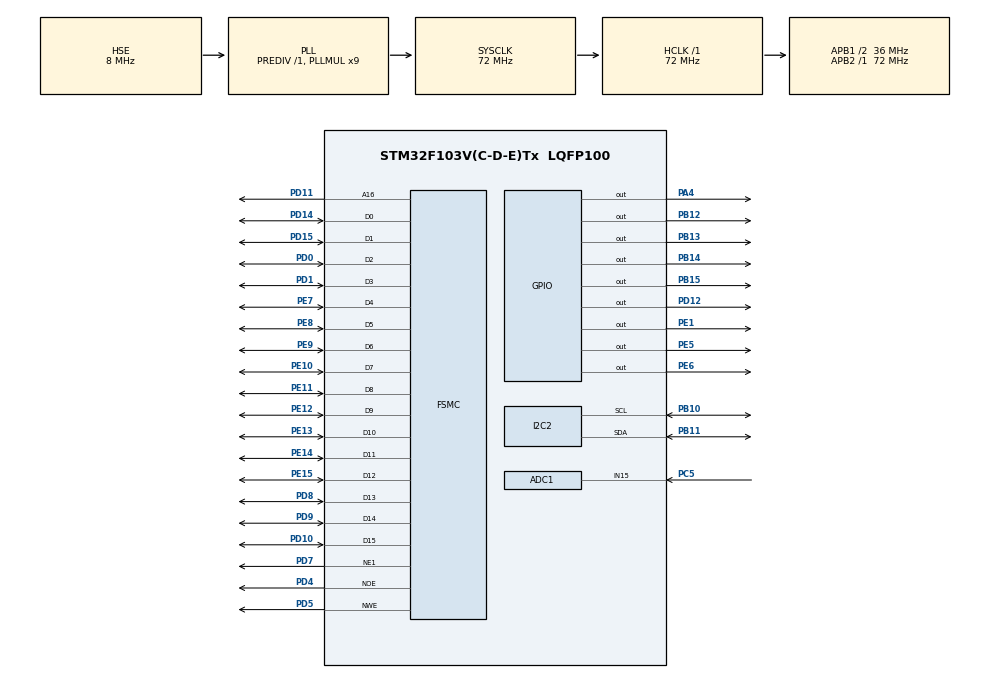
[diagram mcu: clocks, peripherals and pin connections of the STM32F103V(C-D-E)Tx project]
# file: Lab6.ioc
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ADC1.Channel-0\#ChannelRegularConversion=ADC_CHANNEL_15
ADC1.NbrOfConversionFlag=1
ADC1.Rank-0\#ChannelRegularConversion=1
ADC1.SamplingTime-0\#ChannelRegularConversion=ADC_SAMPLETIME_55CYCLES_5
ADC1.master=1
ADC2.Channel-0\#ChannelRegularConversion=ADC_CHANNEL_15
ADC2.ContinuousConvMode=ENABLE
ADC2.NbrOfConversionFlag=1
ADC2.Rank-0\#ChannelRegularConversion=1
ADC2.SamplingTime-0\#ChannelRegularConversion=ADC_SAMPLETIME_55CYCLES_5
Mcu.Family=STM32F1
Mcu.Name=STM32F103V(C-D-E)Tx
Mcu.Package=LQFP100
NVIC.PriorityGroup=NVIC_PRIORITYGROUP_4
OSC_IN.Mode=HSE-External-Oscillator
OSC_IN.Signal=RCC_OSC_IN
OSC_OUT.Mode=HSE-External-Oscillator
OSC_OUT.Signal=RCC_OSC_OUT
PA13.Mode=Serial_Wire
PA13.Signal=SYS_JTMS-SWDIO
PA14.Mode=Serial_Wire
PA14.Signal=SYS_JTCK-SWCLK
PA4.GPIO_Speed=GPIO_SPEED_FREQ_HIGH
PA4.Signal=GPIO_Output
PB10.Mode=I2C
PB10.Signal=I2C2_SCL
PB11.Mode=I2C
PB11.Signal=I2C2_SDA
PB12.GPIO_PuPd=GPIO_NOPULL
PB12.GPIO_Speed=GPIO_SPEED_FREQ_HIGH
PB12.Signal=GPIO_Output
PB13.GPIO_PuPd=GPIO_NOPULL
PB13.GPIO_Speed=GPIO_SPEED_FREQ_HIGH
PB13.PinState=GPIO_PIN_RESET
PB13.Signal=GPIO_Output
PB14.GPIO_Speed=GPIO_SPEED_FREQ_HIGH
PB14.Signal=GPIO_Output
PB15.GPIO_Speed=GPIO_SPEED_FREQ_HIGH
PB15.Signal=GPIO_Output
PC14-OSC32_IN.Mode=LSE-External-Oscillator
PC14-OSC32_IN.Signal=RCC_OSC32_IN
PC15-OSC32_OUT.Mode=LSE-External-Oscillator
PC15-OSC32_OUT.Signal=RCC_OSC32_OUT
PC5.Signal=ADCx_IN15
PD0.Mode=16b-d1
PD0.Signal=FSMC_D2
PD1.Mode=16b-d1
PD1.Signal=FSMC_D3
PD10.Mode=16b-d1
PD10.Signal=FSMC_D15
PD11.Mode=A16_1
PD11.Signal=FSMC_A16
PD12.GPIO_Speed=GPIO_SPEED_FREQ_HIGH
PD12.Signal=GPIO_Output
PD14.Mode=16b-d1
PD14.Signal=FSMC_D0
PD15.Mode=16b-d1
PD15.Signal=FSMC_D1
PD4.Mode=Lcd1
PD4.Signal=FSMC_NOE
PD5.Mode=Lcd1
PD5.Signal=FSMC_NWE
PD7.Mode=NorPsramChipSelect1_1
PD7.Signal=FSMC_NE1
PD8.Mode=16b-d1
PD8.Signal=FSMC_D13
PD9.Mode=16b-d1
PD9.Signal=FSMC_D14
PE1.GPIO_Speed=GPIO_SPEED_FREQ_HIGH
PE1.Signal=GPIO_Output
PE10.Mode=16b-d1
PE10.Signal=FSMC_D7
PE11.Mode=16b-d1
PE11.Signal=FSMC_D8
PE12.Mode=16b-d1
PE12.Signal=FSMC_D9
PE13.Mode=16b-d1
PE13.Signal=FSMC_D10
PE14.Mode=16b-d1
PE14.Signal=FSMC_D11
PE15.Mode=16b-d1
PE15.Signal=FSMC_D12
PE5.GPIO_Speed=GPIO_SPEED_FREQ_HIGH
PE5.Signal=GPIO_Output
PE6.GPIO_Speed=GPIO_SPEED_FREQ_HIGH
PE6.Signal=GPIO_Output
PE7.Mode=16b-d1
PE7.Signal=FSMC_D4
PE8.Mode=16b-d1
PE8.Signal=FSMC_D5
PE9.Mode=16b-d1
PE9.Signal=FSMC_D6
ProjectManager.HeapSize=0x200
ProjectManager.StackSize=0x400
ProjectManager.TargetToolchain=STM32CubeIDE
RCC.ADCPresc=RCC_ADCPCLK2_DIV6
RCC.AHBFreq_Value=72000000
RCC.APB1CLKDivider=RCC_HCLK_DIV2
RCC.APB1Freq_Value=36000000
RCC.APB1TimFreq_Value=72000000
RCC.APB2Freq_Value=72000000
RCC.APB2TimFreq_Value=72000000
RCC.HCLKFreq_Value=72000000
RCC.PLLMUL=RCC_PLL_MUL9
RCC.PLLSourceVirtual=RCC_PLLSOURCE_HSE
RCC.SYSCLKFreq_VALUE=72000000
RCC.SYSCLKSource=RCC_SYSCLKSOURCE_PLLCLK
RCC.USBFreq_Value=72000000
SH.ADCx_IN15.0=ADC1_IN15,IN15
SH.ADCx_IN15.1=ADC2_IN15,IN15
board=custom

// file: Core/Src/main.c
/* USER CODE BEGIN Header */
/**
  ******************************************************************************
  * @file           : main.c
  * @brief          : Main program body
  ******************************************************************************
  * @attention
  *
  * Copyright (c) 2023 STMicroelectronics.
  * All rights reserved.
  *
  * This software is licensed under terms that can be found in the LICENSE file
  * in the root directory of this software component.
  * If no LICENSE file comes with this software, it is provided AS-IS.
  *
  ******************************************************************************
  */
/* USER CODE END Header */
#include "main.h"

/* USER CODE BEGIN Includes */
#include "lcd.h"
#include "math.h"
#include <stdio.h>
#include "string.h"
/* USER CODE END Includes */

ADC_HandleTypeDef hadc1;
ADC_HandleTypeDef hadc2;

I2C_HandleTypeDef hi2c2;

SRAM_HandleTypeDef hsram1;

void SystemClock_Config(void);
static void MX_GPIO_Init(void);
static void MX_ADC1_Init(void);
static void MX_FSMC_Init(void);
static void MX_ADC2_Init(void);
static void MX_I2C2_Init(void);

int main(void)
{

  /* MCU Configuration--------------------------------------------------------*/

  /* Reset of all peripherals, Initializes the Flash interface and the Systick. */
  HAL_Init();

  /* Configure the system clock */
  SystemClock_Config();

  /* Initialize all configured peripherals */
  MX_GPIO_Init();
  MX_ADC1_Init();
  MX_FSMC_Init();
  MX_ADC2_Init();
  MX_I2C2_Init();
  /* USER CODE BEGIN 2 */
  // initialize lcd
  LCD_INIT();
  // initialize hmc device
  uint8_t cra = 0x70;
  uint8_t crb = 0x20;
  uint8_t device_address = 0x1E<<1; // target must be shifted to left for hal i2c parameter, will be 0x3c
  // 1. Write CRA (00) – send 0x3C 0x00 0x70 (8-average, 15 Hz default or any other rate, normal measurement
  HAL_I2C_Mem_Write(&hi2c2,device_address,0x00,1,&cra,1,100);
  // 2. Write CRB (01) – send 0x3C 0x01 0xA0 (Gain=5, or any other desired gain)
  HAL_I2C_Mem_Write(&hi2c2,device_address,0x01,1,&crb,1,100);
  LCD_DrawString(5, 30, "Angle: ");
//  resetPins();
  /* USER CODE END 2 */

  /* Infinite loop */
  /* USER CODE BEGIN WHILE */
  while (1)
  {
	  // single measurement mode is  0x01
	  uint8_t mode = 0x01;
	  HAL_I2C_Mem_Write(&hi2c2,device_address,0x02,1,&mode,1,100);
	  // wait at least 6 ms
	  HAL_Delay(30);
	  // initialize variables
	  double initial_angle=0;
	  int final_angle;
	  // make sure to use signed as it returns 2s complement
	  int16_t x=0;
	  int16_t y=0;
//	  int16_t z=0;
//	  uint8_t x_lsb=0;
//	  uint8_t x_msb=0;
//	  uint8_t y_lsb=0;
//	  uint8_t y_msb=0;
	  uint8_t data[6]={0}; //buffer for data, [0] is x msb, [1] is x lsb, [4] is y msb, [5] is y lsb

	  // read starting from memory register 0x03, read next 6 bytes and store into data buffer
	  // 0x03 - X MSB, 0x04 X LSB, 0x05 Z MSB, 0x06 Z LSB, 0x07 Y MSB, 0x08 Y LSB.
	  HAL_I2C_Mem_Read(&hi2c2, device_address,0x03,1,data,6,100);
//	  HAL_I2C_Mem_Read(&hi2c2, device_address,0x03,1,&x_msb,1,100);
//	  HAL_I2C_Mem_Read(&hi2c2, device_address,0x04,1,&x_lsb,1,100);
//	  HAL_I2C_Mem_Read(&hi2c2, device_address,0x07,1,&y_msb,1,100);
//	  HAL_I2C_Mem_Read(&hi2c2, device_address,0x08,1,&y_lsb,1,100);

	  // get x and y msb and lsb and combine them to create 16 bit integer, so shift msb by 8 bits to left
	  x = (data[0]<<8 | data[1]);
	  y = (data[4]<<8|data[5]);
	  y+=500; // was getting weird large negative value, might change in a different environment
//	  z = (data[2]<<8|data[3]);

	  // convert from x and y values to angle
	  initial_angle = atan2(y,x);
	  initial_angle = (initial_angle*180)/3.14159;
	  if(initial_angle>0)
	  {
		  final_angle = (int)initial_angle;
	  }
	  else
	  {
		  final_angle = (int)(initial_angle+360); // if negative add 360
	  }

	  // print to lcd
	  char str[4];
	  	if(final_angle<10)
	  	{
	  		sprintf(str, "00%d", final_angle);
	  	}
	  	else if(final_angle>=10 && final_angle<100)
	  	{
	  		sprintf(str, "0%d", final_angle);
	  	}
	  	else if(final_angle>=100 && final_angle<1000)
	  	{
	  		sprintf(str, "%d", final_angle);
	  	}
	  	LCD_DrawString(50,30,str);
	  	HAL_Delay(20);

	  	// display last digit of angle to 7 segment led
	  	uint8_t last_digit = final_angle%10;
	  	if(last_digit == 0)
	  	{
	  		//turn off pin set g, which is PB14
			HAL_GPIO_WritePin(GPIOB,GPIO_PIN_12,GPIO_PIN_RESET);
			HAL_GPIO_WritePin(GPIOB,GPIO_PIN_13,GPIO_PIN_RESET);
			HAL_GPIO_WritePin(GPIOB,GPIO_PIN_14,GPIO_PIN_SET);
			HAL_GPIO_WritePin(GPIOB,GPIO_PIN_15,GPIO_PIN_RESET);
			HAL_GPIO_WritePin(GPIOA,GPIO_PIN_4,GPIO_PIN_RESET);
			HAL_GPIO_WritePin(GPIOE,GPIO_PIN_5,GPIO_PIN_RESET);
			HAL_GPIO_WritePin(GPIOE,GPIO_PIN_6,GPIO_PIN_RESET);
	  	}
	  	else if(last_digit==1)
	  	{
	  		// turn off a,f,g,e,d corresponding to b13,b12,b14,a4,e5
			HAL_GPIO_WritePin(GPIOB,GPIO_PIN_12,GPIO_PIN_SET);
			HAL_GPIO_WritePin(GPIOB,GPIO_PIN_13,GPIO_PIN_SET);
			HAL_GPIO_WritePin(GPIOB,GPIO_PIN_14,GPIO_PIN_SET);
			HAL_GPIO_WritePin(GPIOB,GPIO_PIN_15,GPIO_PIN_RESET);
			HAL_GPIO_WritePin(GPIOA,GPIO_PIN_4,GPIO_PIN_SET);
			HAL_GPIO_WritePin(GPIOE,GPIO_PIN_5,GPIO_PIN_SET);
			HAL_GPIO_WritePin(GPIOE,GPIO_PIN_6,GPIO_PIN_RESET);
	  	}
	  	else if(last_digit==2)
	  	{
	  		// turn off f,c, corresponding to b12 and e6
			HAL_GPIO_WritePin(GPIOB,GPIO_PIN_12,GPIO_PIN_SET);
			HAL_GPIO_WritePin(GPIOB,GPIO_PIN_13,GPIO_PIN_RESET);
			HAL_GPIO_WritePin(GPIOB,GPIO_PIN_14,GPIO_PIN_RESET);
			HAL_GPIO_WritePin(GPIOB,GPIO_PIN_15,GPIO_PIN_RESET);
			HAL_GPIO_WritePin(GPIOA,GPIO_PIN_4,GPIO_PIN_RESET);
			HAL_GPIO_WritePin(GPIOE,GPIO_PIN_5,GPIO_PIN_RESET);
			HAL_GPIO_WritePin(GPIOE,GPIO_PIN_6,GPIO_PIN_SET);
	  	}
	  	else if(last_digit==3)
	  	{
	  		// turn off e,f, corresponding to a4, b12
			HAL_GPIO_WritePin(GPIOB,GPIO_PIN_12,GPIO_PIN_SET);
			HAL_GPIO_WritePin(GPIOB,GPIO_PIN_13,GPIO_PIN_RESET);
			HAL_GPIO_WritePin(GPIOB,GPIO_PIN_14,GPIO_PIN_RESET);
			HAL_GPIO_WritePin(GPIOB,GPIO_PIN_15,GPIO_PIN_RESET);
			HAL_GPIO_WritePin(GPIOA,GPIO_PIN_4,GPIO_PIN_SET);
			HAL_GPIO_WritePin(GPIOE,GPIO_PIN_5,GPIO_PIN_RESET);
			HAL_GPIO_WritePin(GPIOE,GPIO_PIN_6,GPIO_PIN_RESET);
	  	}
	  	else if(last_digit==4)
	  	{
	  		// turn off a,d,e, corresponding to b13, e5, a4
			HAL_GPIO_WritePin(GPIOB,GPIO_PIN_12,GPIO_PIN_RESET);
			HAL_GPIO_WritePin(GPIOB,GPIO_PIN_13,GPIO_PIN_SET);
			HAL_GPIO_WritePin(GPIOB,GPIO_PIN_14,GPIO_PIN_RESET);
			HAL_GPIO_WritePin(GPIOB,GPIO_PIN_15,GPIO_PIN_RESET);
			HAL_GPIO_WritePin(GPIOA,GPIO_PIN_4,GPIO_PIN_SET);
			HAL_GPIO_WritePin(GPIOE,GPIO_PIN_5,GPIO_PIN_SET);
			HAL_GPIO_WritePin(GPIOE,GPIO_PIN_6,GPIO_PIN_RESET);
	  	}
	  	else if(last_digit==5)
	  	{
	  		// turn off b,e, corresponding to a4, b15
			HAL_GPIO_WritePin(GPIOB,GPIO_PIN_12,GPIO_PIN_RESET);
			HAL_GPIO_WritePin(GPIOB,GPIO_PIN_13,GPIO_PIN_RESET);
			HAL_GPIO_WritePin(GPIOB,GPIO_PIN_14,GPIO_PIN_RESET);
			HAL_GPIO_WritePin(GPIOB,GPIO_PIN_15,GPIO_PIN_SET);
			HAL_GPIO_WritePin(GPIOA,GPIO_PIN_4,GPIO_PIN_SET);
			HAL_GPIO_WritePin(GPIOE,GPIO_PIN_5,GPIO_PIN_RESET);
			HAL_GPIO_WritePin(GPIOE,GPIO_PIN_6,GPIO_PIN_RESET);
	  	}
	  	else if(last_digit==6)
	  	{
	  		// turn off b, corresponding to b15
			HAL_GPIO_WritePin(GPIOB,GPIO_PIN_12,GPIO_PIN_RESET);
			HAL_GPIO_WritePin(GPIOB,GPIO_PIN_13,GPIO_PIN_RESET);
			HAL_GPIO_WritePin(GPIOB,GPIO_PIN_14,GPIO_PIN_RESET);
			HAL_GPIO_WritePin(GPIOB,GPIO_PIN_15,GPIO_PIN_SET);
			HAL_GPIO_WritePin(GPIOA,GPIO_PIN_4,GPIO_PIN_RESET);
			HAL_GPIO_WritePin(GPIOE,GPIO_PIN_5,GPIO_PIN_RESET);
			HAL_GPIO_WritePin(GPIOE,GPIO_PIN_6,GPIO_PIN_RESET);
	  	}
	  	else if(last_digit==7)
	  	{
	  		// turn off d,e,f,g, corresponding to e5,a4,b12,b14
			HAL_GPIO_WritePin(GPIOB,GPIO_PIN_12,GPIO_PIN_SET);
			HAL_GPIO_WritePin(GPIOB,GPIO_PIN_13,GPIO_PIN_RESET);
			HAL_GPIO_WritePin(GPIOB,GPIO_PIN_14,GPIO_PIN_SET);
			HAL_GPIO_WritePin(GPIOB,GPIO_PIN_15,GPIO_PIN_RESET);
			HAL_GPIO_WritePin(GPIOA,GPIO_PIN_4,GPIO_PIN_SET);
			HAL_GPIO_WritePin(GPIOE,GPIO_PIN_5,GPIO_PIN_SET);
			HAL_GPIO_WritePin(GPIOE,GPIO_PIN_6,GPIO_PIN_RESET);
	  	}
	  	else if(last_digit==8)
	  	{
	  		// turn off e,f, corresponding to a4, b12
			HAL_GPIO_WritePin(GPIOB,GPIO_PIN_12,GPIO_PIN_RESET);
			HAL_GPIO_WritePin(GPIOB,GPIO_PIN_13,GPIO_PIN_RESET);
			HAL_GPIO_WritePin(GPIOB,GPIO_PIN_14,GPIO_PIN_RESET);
			HAL_GPIO_WritePin(GPIOB,GPIO_PIN_15,GPIO_PIN_RESET);
			HAL_GPIO_WritePin(GPIOA,GPIO_PIN_4,GPIO_PIN_RESET);
			HAL_GPIO_WritePin(GPIOE,GPIO_PIN_5,GPIO_PIN_RESET);
			HAL_GPIO_WritePin(GPIOE,GPIO_PIN_6,GPIO_PIN_RESET);
	  	}
	  	else if(last_digit==9)
	  	{
	  		// turn off e, corresponding to a4
			HAL_GPIO_WritePin(GPIOB,GPIO_PIN_12,GPIO_PIN_RESET);
			HAL_GPIO_WritePin(GPIOB,GPIO_PIN_13,GPIO_PIN_RESET);
			HAL_GPIO_WritePin(GPIOB,GPIO_PIN_14,GPIO_PIN_RESET);
			HAL_GPIO_WritePin(GPIOB,GPIO_PIN_15,GPIO_PIN_RESET);
			HAL_GPIO_WritePin(GPIOA,GPIO_PIN_4,GPIO_PIN_SET);
			HAL_GPIO_WritePin(GPIOE,GPIO_PIN_5,GPIO_PIN_RESET);
			HAL_GPIO_WritePin(GPIOE,GPIO_PIN_6,GPIO_PIN_RESET);
	  	}

    /* USER CODE END WHILE */

  }
}

void SystemClock_Config(void)
{
  RCC_OscInitTypeDef RCC_OscInitStruct = {0};
  RCC_ClkInitTypeDef RCC_ClkInitStruct = {0};
  RCC_PeriphCLKInitTypeDef PeriphClkInit = {0};

  /** Initializes the RCC Oscillators according to the specified parameters
  * in the RCC_OscInitTypeDef structure.
  */
  RCC_OscInitStruct.OscillatorType = RCC_OSCILLATORTYPE_HSE;
  RCC_OscInitStruct.HSEState = RCC_HSE_ON;
  RCC_OscInitStruct.HSEPredivValue = RCC_HSE_PREDIV_DIV1;
  RCC_OscInitStruct.HSIState = RCC_HSI_ON;
  RCC_OscInitStruct.PLL.PLLState = RCC_PLL_ON;
  RCC_OscInitStruct.PLL.PLLSource = RCC_PLLSOURCE_HSE;
  RCC_OscInitStruct.PLL.PLLMUL = RCC_PLL_MUL9;
  if (HAL_RCC_OscConfig(&RCC_OscInitStruct) != HAL_OK)
  {
    Error_Handler();
  }

  /** Initializes the CPU, AHB and APB buses clocks
  */
  RCC_ClkInitStruct.ClockType = RCC_CLOCKTYPE_HCLK|RCC_CLOCKTYPE_SYSCLK
                              |RCC_CLOCKTYPE_PCLK1|RCC_CLOCKTYPE_PCLK2;
  RCC_ClkInitStruct.SYSCLKSource = RCC_SYSCLKSOURCE_PLLCLK;
  RCC_ClkInitStruct.AHBCLKDivider = RCC_SYSCLK_DIV1;
  RCC_ClkInitStruct.APB1CLKDivider = RCC_HCLK_DIV2;
  RCC_ClkInitStruct.APB2CLKDivider = RCC_HCLK_DIV1;

  if (HAL_RCC_ClockConfig(&RCC_ClkInitStruct, FLASH_LATENCY_2) != HAL_OK)
  {
    Error_Handler();
  }
  PeriphClkInit.PeriphClockSelection = RCC_PERIPHCLK_ADC;
  PeriphClkInit.AdcClockSelection = RCC_ADCPCLK2_DIV6;
  if (HAL_RCCEx_PeriphCLKConfig(&PeriphClkInit) != HAL_OK)
  {
    Error_Handler();
  }
}

static void MX_ADC1_Init(void)
{

  ADC_ChannelConfTypeDef sConfig = {0};

  /** Common config
  */
  hadc1.Instance = ADC1;
  hadc1.Init.ScanConvMode = ADC_SCAN_DISABLE;
  hadc1.Init.ContinuousConvMode = DISABLE;
  hadc1.Init.DiscontinuousConvMode = DISABLE;
  hadc1.Init.ExternalTrigConv = ADC_SOFTWARE_START;
  hadc1.Init.DataAlign = ADC_DATAALIGN_RIGHT;
  hadc1.Init.NbrOfConversion = 1;
  if (HAL_ADC_Init(&hadc1) != HAL_OK)
  {
    Error_Handler();
  }

  /** Configure Regular Channel
  */
  sConfig.Channel = ADC_CHANNEL_15;
  sConfig.Rank = ADC_REGULAR_RANK_1;
  sConfig.SamplingTime = ADC_SAMPLETIME_55CYCLES_5;
  if (HAL_ADC_ConfigChannel(&hadc1, &sConfig) != HAL_OK)
  {
    Error_Handler();
  }

}

static void MX_ADC2_Init(void)
{

  ADC_ChannelConfTypeDef sConfig = {0};

  /** Common config
  */
  hadc2.Instance = ADC2;
  hadc2.Init.ScanConvMode = ADC_SCAN_DISABLE;
  hadc2.Init.ContinuousConvMode = ENABLE;
  hadc2.Init.DiscontinuousConvMode = DISABLE;
  hadc2.Init.ExternalTrigConv = ADC_SOFTWARE_START;
  hadc2.Init.DataAlign = ADC_DATAALIGN_RIGHT;
  hadc2.Init.NbrOfConversion = 1;
  if (HAL_ADC_Init(&hadc2) != HAL_OK)
  {
    Error_Handler();
  }

  /** Configure Regular Channel
  */
  sConfig.Channel = ADC_CHANNEL_15;
  sConfig.Rank = ADC_REGULAR_RANK_1;
  sConfig.SamplingTime = ADC_SAMPLETIME_55CYCLES_5;
  if (HAL_ADC_ConfigChannel(&hadc2, &sConfig) != HAL_OK)
  {
    Error_Handler();
  }

}

static void MX_I2C2_Init(void)
{

  hi2c2.Instance = I2C2;
  hi2c2.Init.ClockSpeed = 100000;
  hi2c2.Init.DutyCycle = I2C_DUTYCYCLE_2;
  hi2c2.Init.OwnAddress1 = 0;
  hi2c2.Init.AddressingMode = I2C_ADDRESSINGMODE_7BIT;
  hi2c2.Init.DualAddressMode = I2C_DUALADDRESS_DISABLE;
  hi2c2.Init.OwnAddress2 = 0;
  hi2c2.Init.GeneralCallMode = I2C_GENERALCALL_DISABLE;
  hi2c2.Init.NoStretchMode = I2C_NOSTRETCH_DISABLE;
  if (HAL_I2C_Init(&hi2c2) != HAL_OK)
  {
    Error_Handler();
  }

}

static void MX_GPIO_Init(void)
{
  GPIO_InitTypeDef GPIO_InitStruct = {0};

  /* GPIO Ports Clock Enable */
  __HAL_RCC_GPIOE_CLK_ENABLE();
  __HAL_RCC_GPIOC_CLK_ENABLE();
  __HAL_RCC_GPIOA_CLK_ENABLE();
  __HAL_RCC_GPIOB_CLK_ENABLE();
  __HAL_RCC_GPIOD_CLK_ENABLE();

  /*Configure GPIO pin Output Level */
  HAL_GPIO_WritePin(GPIOE, GPIO_PIN_5|GPIO_PIN_6|GPIO_PIN_1, GPIO_PIN_RESET);

  /*Configure GPIO pin Output Level */
  HAL_GPIO_WritePin(GPIOA, GPIO_PIN_4, GPIO_PIN_RESET);

  /*Configure GPIO pin Output Level */
  HAL_GPIO_WritePin(GPIOB, GPIO_PIN_12|GPIO_PIN_13|GPIO_PIN_14|GPIO_PIN_15, GPIO_PIN_RESET);

  /*Configure GPIO pin Output Level */
  HAL_GPIO_WritePin(GPIOD, GPIO_PIN_12, GPIO_PIN_RESET);

  /*Configure GPIO pins : PE5 PE6 PE1 */
  GPIO_InitStruct.Pin = GPIO_PIN_5|GPIO_PIN_6|GPIO_PIN_1;
  GPIO_InitStruct.Mode = GPIO_MODE_OUTPUT_PP;
  GPIO_InitStruct.Pull = GPIO_NOPULL;
  GPIO_InitStruct.Speed = GPIO_SPEED_FREQ_HIGH;
  HAL_GPIO_Init(GPIOE, &GPIO_InitStruct);

  /*Configure GPIO pin : PA4 */
  GPIO_InitStruct.Pin = GPIO_PIN_4;
  GPIO_InitStruct.Mode = GPIO_MODE_OUTPUT_PP;
  GPIO_InitStruct.Pull = GPIO_NOPULL;
  GPIO_InitStruct.Speed = GPIO_SPEED_FREQ_HIGH;
  HAL_GPIO_Init(GPIOA, &GPIO_InitStruct);

  /*Configure GPIO pins : PB12 PB13 PB14 PB15 */
  GPIO_InitStruct.Pin = GPIO_PIN_12|GPIO_PIN_13|GPIO_PIN_14|GPIO_PIN_15;
  GPIO_InitStruct.Mode = GPIO_MODE_OUTPUT_PP;
  GPIO_InitStruct.Pull = GPIO_NOPULL;
  GPIO_InitStruct.Speed = GPIO_SPEED_FREQ_HIGH;
  HAL_GPIO_Init(GPIOB, &GPIO_InitStruct);

  /*Configure GPIO pin : PD12 */
  GPIO_InitStruct.Pin = GPIO_PIN_12;
  GPIO_InitStruct.Mode = GPIO_MODE_OUTPUT_PP;
  GPIO_InitStruct.Pull = GPIO_NOPULL;
  GPIO_InitStruct.Speed = GPIO_SPEED_FREQ_HIGH;
  HAL_GPIO_Init(GPIOD, &GPIO_InitStruct);

}

/* FSMC initialization function */
static void MX_FSMC_Init(void)
{

  FSMC_NORSRAM_TimingTypeDef Timing = {0};

  /** Perform the SRAM1 memory initialization sequence
  */
  hsram1.Instance = FSMC_NORSRAM_DEVICE;
  hsram1.Extended = FSMC_NORSRAM_EXTENDED_DEVICE;
  /* hsram1.Init */
  hsram1.Init.NSBank = FSMC_NORSRAM_BANK1;
  hsram1.Init.DataAddressMux = FSMC_DATA_ADDRESS_MUX_DISABLE;
  hsram1.Init.MemoryType = FSMC_MEMORY_TYPE_SRAM;
  hsram1.Init.MemoryDataWidth = FSMC_NORSRAM_MEM_BUS_WIDTH_16;
  hsram1.Init.BurstAccessMode = FSMC_BURST_ACCESS_MODE_DISABLE;
  hsram1.Init.WaitSignalPolarity = FSMC_WAIT_SIGNAL_POLARITY_LOW;
  hsram1.Init.WrapMode = FSMC_WRAP_MODE_DISABLE;
  hsram1.Init.WaitSignalActive = FSMC_WAIT_TIMING_BEFORE_WS;
  hsram1.Init.WriteOperation = FSMC_WRITE_OPERATION_ENABLE;
  hsram1.Init.WaitSignal = FSMC_WAIT_SIGNAL_DISABLE;
  hsram1.Init.ExtendedMode = FSMC_EXTENDED_MODE_DISABLE;
  hsram1.Init.AsynchronousWait = FSMC_ASYNCHRONOUS_WAIT_DISABLE;
  hsram1.Init.WriteBurst = FSMC_WRITE_BURST_DISABLE;
  /* Timing */
  Timing.AddressSetupTime = 15;
  Timing.AddressHoldTime = 15;
  Timing.DataSetupTime = 255;
  Timing.BusTurnAroundDuration = 15;
  Timing.CLKDivision = 16;
  Timing.DataLatency = 17;
  Timing.AccessMode = FSMC_ACCESS_MODE_A;
  /* ExtTiming */

  if (HAL_SRAM_Init(&hsram1, &Timing, NULL) != HAL_OK)
  {
    Error_Handler( );
  }

  /** Disconnect NADV
  */

  __HAL_AFIO_FSMCNADV_DISCONNECTED();

}

/* USER CODE BEGIN 4 */
//void resetPins()
//{
//	HAL_GPIO_WritePin(GPIOB,GPIO_PIN_12,GPIO_PIN_SET);
//	HAL_GPIO_WritePin(GPIOB,GPIO_PIN_13,GPIO_PIN_SET);
//	HAL_GPIO_WritePin(GPIOB,GPIO_PIN_14,GPIO_PIN_SET);
//	HAL_GPIO_WritePin(GPIOB,GPIO_PIN_15,GPIO_PIN_SET);
//	HAL_GPIO_WritePin(GPIOA,GPIO_PIN_4,GPIO_PIN_SET);
//	HAL_GPIO_WritePin(GPIOE,GPIO_PIN_5,GPIO_PIN_SET);
//	HAL_GPIO_WritePin(GPIOE,GPIO_PIN_6,GPIO_PIN_SET);
//}

/* USER CODE END 4 */

void Error_Handler(void)
{
  __disable_irq();
  while (1)
  {
  }
}
